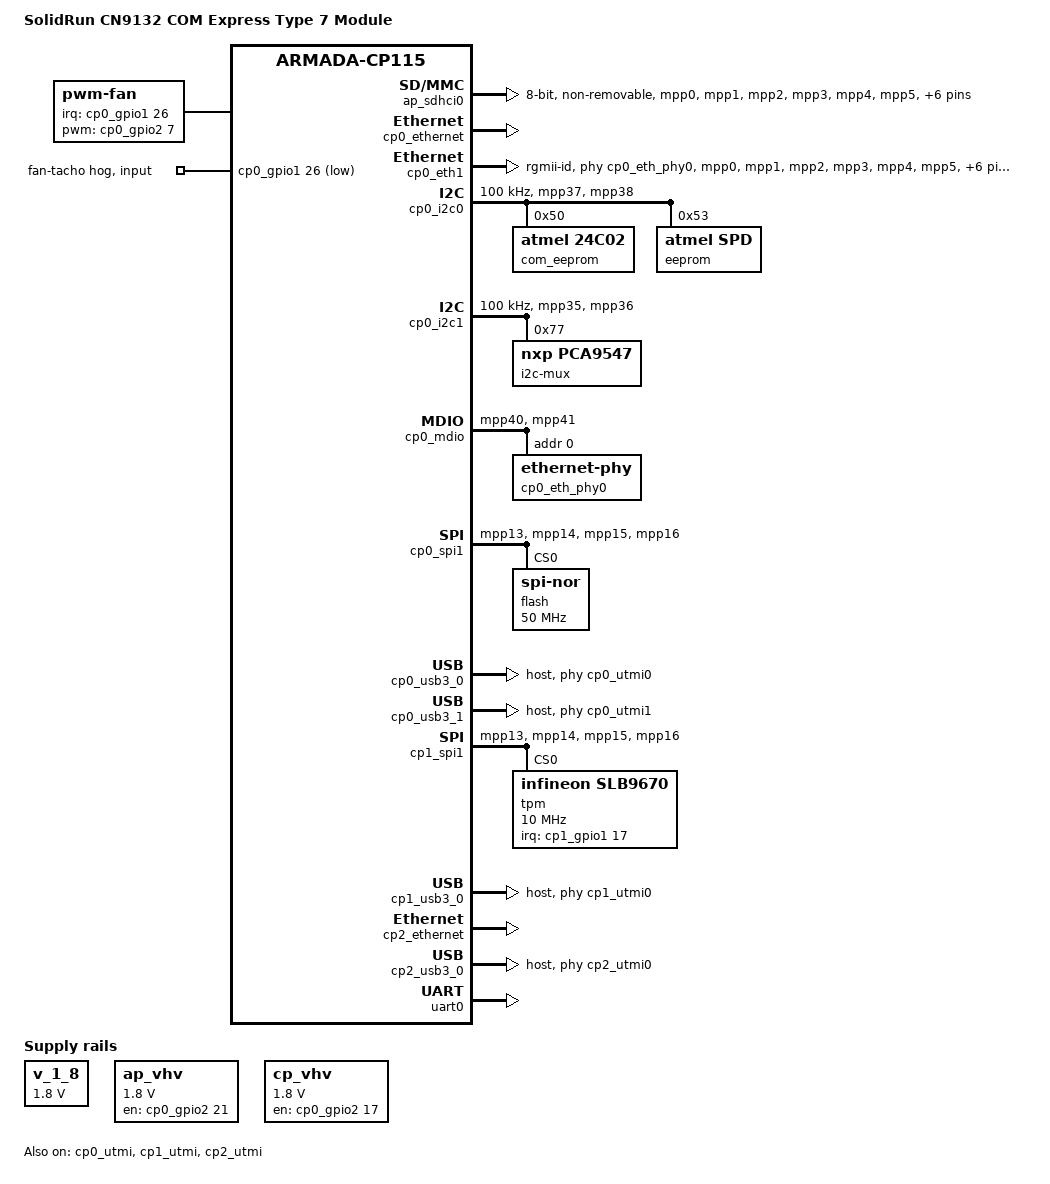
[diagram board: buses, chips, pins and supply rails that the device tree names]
// SPDX-License-Identifier: (GPL-2.0+ OR MIT)
/*
 * Copyright (C) 2024 Josua Mayer <josua@solid-run.com>
 *
 */

#include <dt-bindings/gpio/gpio.h>

/*
 * Instantiate the first external CP115
 */

#define CP11X_NAME		cp1
#define CP11X_BASE		f4000000
#define CP11X_PCIEx_MEM_BASE(iface) (0xe2000000 + (iface * 0x1000000))
#define CP11X_PCIEx_MEM_SIZE(iface) 0xf00000
#define CP11X_PCIE0_BASE	f4600000
#define CP11X_PCIE1_BASE	f4620000
#define CP11X_PCIE2_BASE	f4640000

#include "armada-cp115.dtsi"

#undef CP11X_NAME
#undef CP11X_BASE
#undef CP11X_PCIEx_MEM_BASE
#undef CP11X_PCIEx_MEM_SIZE
#undef CP11X_PCIE0_BASE
#undef CP11X_PCIE1_BASE
#undef CP11X_PCIE2_BASE

/*
 * Instantiate the second external CP115
 */

#define CP11X_NAME		cp2
#define CP11X_BASE		f6000000
#define CP11X_PCIEx_MEM_BASE(iface) (0xe5000000 + (iface * 0x1000000))
#define CP11X_PCIEx_MEM_SIZE(iface) 0xf00000
#define CP11X_PCIE0_BASE	f6600000
#define CP11X_PCIE1_BASE	f6620000
#define CP11X_PCIE2_BASE	f6640000

#include "armada-cp115.dtsi"

#undef CP11X_NAME
#undef CP11X_BASE
#undef CP11X_PCIEx_MEM_BASE
#undef CP11X_PCIEx_MEM_SIZE
#undef CP11X_PCIE0_BASE
#undef CP11X_PCIE1_BASE
#undef CP11X_PCIE2_BASE

/ {
	model = "SolidRun CN9132 COM Express Type 7 Module";
	compatible = "solidrun,cn9132-sr-cex7", "marvell,cn9130";

	aliases {
		ethernet0 = &cp0_eth1;
		gpio3 = &cp1_gpio1;
		gpio4 = &cp1_gpio2;
		gpio5 = &cp2_gpio1;
		gpio6 = &cp2_gpio2;
		i2c0 = &cp0_i2c0;
		i2c1 = &cp0_i2c1;
		i2c2 = &com_clkgen_i2c;
		i2c3 = &com_10g_led_i2c;
		i2c4 = &com_10g_sfp_i2c0;
		i2c5 = &com_smbus;
		i2c6 = &com_fanctrl_i2c;
		mmc0 = &ap_sdhci0;
		rtc0 = &cp0_rtc;
	};

	chosen {
		stdout-path = "serial0:115200n8";
	};

	fan: pwm-fan {
		compatible = "pwm-fan";
		cooling-levels = <0 51 102 153 204 255>;
		#cooling-cells = <2>;
		pinctrl-names = "default";
		pinctrl-0 = <&cp0_fan_pwm_pins &cp0_fan_tacho_pins>;
		pwms = <&cp0_gpio2 7 40000>;
		interrupt-parent = <&cp0_gpio1>;
		interrupts = <26 IRQ_TYPE_EDGE_FALLING>;
	};

	v_1_8: regulator-1-8 {
		compatible = "regulator-fixed";
		regulator-name = "1v8";
		regulator-min-microvolt = <1800000>;
		regulator-max-microvolt = <1800000>;
	};

	ap_vhv: regulator-ap-vhv-1-8 {
		compatible = "regulator-fixed";
		regulator-name = "ap-vhv-1v8";
		regulator-min-microvolt = <1800000>;
		regulator-max-microvolt = <1800000>;
		pinctrl-0 = <&cp0_reg_ap_vhv_pins>;
		pinctrl-names = "default";
		gpios = <&cp0_gpio2 21 GPIO_ACTIVE_HIGH>;
		enable-active-high;
	};

	cp_vhv: regulator-cp-vhv-1-8 {
		compatible = "regulator-fixed";
		regulator-name = "cp-vhv-1v8";
		regulator-min-microvolt = <1800000>;
		regulator-max-microvolt = <1800000>;
		pinctrl-0 = <&cp0_reg_cp_vhv_pins>;
		pinctrl-names = "default";
		gpios = <&cp0_gpio2 17 GPIO_ACTIVE_HIGH>;
		enable-active-high;
	};
};

&ap_pinctrl {
	ap_mmc0_pins: ap-mmc0-pins {
		marvell,pins = "mpp0", "mpp1", "mpp2", "mpp3", "mpp4", "mpp5",
					   "mpp6", "mpp7", "mpp8", "mpp9", "mpp10", "mpp12";
		marvell,function = "sdio";
		/*
		 * mpp12 is emmc reset, function should be sdio (hw_rst),
		 * but pinctrl-mvebu does not support this.
		 *
		 * From pinctrl-mvebu.h:
		 * "The name will be used to switch to this setting in DT description, e.g.
		 * marvell,function = "uart2". subname is only for debugging purposes."
		 */
	};
};

&ap_sdhci0 {
	bus-width = <8>;
	pinctrl-0 = <&ap_mmc0_pins>;
	pinctrl-names = "default";
	vqmmc-supply = <&v_1_8>;
	/*
	 * Not stable in HS modes - phy needs "more calibration", so disable
	 * UHS (by preventing voltage switch), SDR104, SDR50 and DDR50 modes.
	 */
	no-1-8-v;
	no-sd;
	no-sdio;
	non-removable;
	status = "okay";
};

&ap_thermal_ic {
	polling-delay = <1000>;

	trips {
		ap_active: trip-active {
			temperature = <40000>;
			hysteresis = <4000>;
			type = "active";
		};
	};

	cooling-maps {
		map0 {
			trip = <&ap_active>;
			cooling-device = <&fan THERMAL_NO_LIMIT 4>;
		};

		map1 {
			trip = <&ap_crit>;
			cooling-device = <&fan 4 5>;
		};
	};
};

&cp0_ethernet {
	status = "okay";
};

&cp0_eth1 {
	pinctrl-names = "default";
	pinctrl-0 = <&cp0_eth1_pins>;
	phy-mode = "rgmii-id";
	phy = <&cp0_eth_phy0>;
	status = "okay";
};

&cp0_gpio1 {
	status = "okay";

	/*
	 * Tacho signal used as interrupt source by pwm-fan driver.
	 * Hog IO as input to ensure mvebu-gpio irq driver`s
	 * irq_set_type can succeed.
	 */
	pwm-tacho-irq-hog {
		gpio-hog;
		gpios = <26 (GPIO_ACTIVE_LOW | GPIO_OPEN_DRAIN)>;
		input;
		line-name = "fan-tacho";
	};
};

&cp0_gpio2 {
	status = "okay";
};

&cp0_i2c0 {
	pinctrl-names = "default";
	pinctrl-0 = <&cp0_i2c0_pins>;
	clock-frequency = <100000>;
	status = "okay";

	com_eeprom: eeprom@50 {
		compatible = "atmel,24c02";
		reg = <0x50>;
		pagesize = <8>;
	};

	eeprom@53 {
		compatible = "atmel,spd";
		reg = <0x53>;
	};
};

&cp0_i2c1 {
	pinctrl-names = "default";
	pinctrl-0 = <&cp0_i2c1_pins>;
	clock-frequency = <100000>;
	status = "okay";

	i2c-mux@77 {
		compatible = "nxp,pca9547";
		reg = <0x77>;
		i2c-mux-idle-disconnect;
		#address-cells = <1>;
		#size-cells = <0>;

		com_clkgen_i2c: i2c@0 {
			#address-cells = <1>;
			#size-cells = <0>;
			reg = <0>;

			/* clock-controller@6b */
		};

		com_10g_led_i2c: i2c@1 {
			#address-cells = <1>;
			#size-cells = <0>;
			reg = <1>;

			/* Routed to B2B Connector as I2C_10G_LED_SCL/SDA */
		};

		com_10g_sfp_i2c0: i2c@2 {
			#address-cells = <1>;
			#size-cells = <0>;
			reg = <2>;

			/* Routed to B2B Connector as I2C_SFP0_CP0_SCL/SDA */
		};

		com_smbus: i2c@3 {
			#address-cells = <1>;
			#size-cells = <0>;
			reg = <3>;

			/* Routed to B2B Connector as SBM_CLK/DAT */
		};

		com_fanctrl_i2c: i2c@4 {
			#address-cells = <1>;
			#size-cells = <0>;
			reg = <4>;

			/* fan-controller@2f (assembly option) */
		};
	};
};

&cp0_mdio {
	pinctrl-names = "default";
	pinctrl-0 = <&cp0_mdio_pins>;
	status = "okay";

	cp0_eth_phy0: ethernet-phy@0 {
		reg = <0>;
	};
};

&cp0_spi1 {
	pinctrl-names = "default";
	pinctrl-0 = <&cp0_spi1_pins>;
	status = "okay";

	flash@0 {
		compatible = "jedec,spi-nor";
		reg = <0>;
		/* read command supports max. 50MHz */
		spi-max-frequency = <50000000>;
	};
};

&cp0_syscon0 {
	cp0_pinctrl: pinctrl {
		compatible = "marvell,cp115-standalone-pinctrl";

		com_10g_int0_pins: cp0-10g-int-pins {
			marvell,pins = "mpp24";
			marvell,function = "gpio";
		};

		cp0_eth1_pins: cp0-eth1-pins {
			marvell,pins = "mpp0", "mpp1", "mpp2", "mpp3",
				       "mpp4", "mpp5", "mpp6", "mpp7",
				       "mpp8", "mpp9", "mpp10", "mpp11";
			/* docs call it "ge1", but cp110-pinctrl "ge0" */
			marvell,function = "ge0";
		};

		cp0_fan_pwm_pins: cp0-fan-pwm-pins {
			marvell,pins = "mpp39";
			marvell,function = "gpio";
		};

		cp0_fan_tacho_pins: cp0-fan-tacho-pins {
			marvell,pins = "mpp26";
			marvell,function = "gpio";
		};

		cp0_i2c0_pins: cp0-i2c0-pins {
			marvell,pins = "mpp37", "mpp38";
			marvell,function = "i2c0";
		};

		cp0_i2c1_pins: cp0-i2c1-pins {
			marvell,pins = "mpp35", "mpp36";
			marvell,function = "i2c1";
		};

		cp0_mdio_pins: cp0-mdio-pins {
			marvell,pins = "mpp40", "mpp41";
			marvell,function = "ge";
		};

		cp0_mmc0_pins: cp0-mmc0-pins {
			marvell,pins = "mpp56", "mpp57", "mpp58", "mpp59",
				       "mpp60", "mpp61";
			marvell,function = "sdio";
		};

		cp0_mmc0_cd_pins: cp0-mmc0-cd-pins {
			marvell,pins = "mpp55";
			marvell,function = "sdio_cd";
		};

		cp0_pwrbtn_pins:  cp0-pwrbtn-pins {
			marvell,pins = "mpp31";
			marvell,function = "gpio";
		};

		cp0_reg_ap_vhv_pins: cp0-reg-ap-vhv-pins {
			marvell,pins = "mpp53";
			marvell,function = "gpio";
		};

		cp0_reg_cp_vhv_pins: cp0-reg-cp-vhv-pins {
			marvell,pins = "mpp49";
			marvell,function = "gpio";
		};

		cp0_spi1_pins: cp0-spi1-pins {
			marvell,pins = "mpp13", "mpp14", "mpp15", "mpp16";
			marvell,function = "spi1";
		};

		cp0_spi1_cs1_pins: cp0-spi1-cs1-pins {
			marvell,pins = "mpp12";
			marvell,function = "spi1";
		};

		cp0_uart2_pins: cp0-uart2-pins  {
			marvell,pins = "mpp50", "mpp51";
			marvell,function = "uart2";
		};
	};
};

&cp0_thermal_ic {
	polling-delay = <1000>;

	trips {
		cp0_active: trip-active {
			temperature = <40000>;
			hysteresis = <4000>;
			type = "active";
		};
	};

	cooling-maps {
		map0 {
			trip = <&cp0_active>;
			cooling-device = <&fan THERMAL_NO_LIMIT 4>;
		};

		map1 {
			trip = <&cp0_crit>;
			cooling-device = <&fan 4 5>;
		};
	};
};

/* USB-2.0 Host */
&cp0_usb3_0 {
	phys = <&cp0_utmi0>;
	phy-names = "utmi";
	dr_mode = "host";
	status = "okay";
};

/* USB-2.0 Host */
&cp0_usb3_1 {
	phys = <&cp0_utmi1>;
	phy-names = "utmi";
	dr_mode = "host";
	status = "okay";
};

&cp0_utmi {
	status = "okay";
};

&cp1_gpio1 {
	status = "okay";
};

&cp1_gpio2 {
	status = "okay";
};

&cp1_rtc {
	status = "disabled";
};

&cp1_spi1 {
	pinctrl-names = "default";
	pinctrl-0 = <&cp1_spi1_pins>;
	status = "okay";

	tpm@0 {
		reg = <0>;
		compatible = "infineon,slb9670", "tcg,tpm_tis-spi";
		spi-max-frequency = <10000000>;
		pinctrl-names = "default";
		pinctrl-0 = <&cp1_tpm_irq_pins>;
		interrupt-parent = <&cp1_gpio1>;
		interrupts = <17 IRQ_TYPE_LEVEL_LOW>;
	};
};

&cp1_syscon0 {
	cp1_pinctrl: pinctrl {
		compatible = "marvell,cp115-standalone-pinctrl";

		com_10g_int1_pins: cp1-10g-int-pins {
			marvell,pins = "mpp50";
			marvell,function = "gpio";
		};

		cp1_10g_phy_rst_01_pins: cp1-10g-phy-rst-01-pins {
			marvell,pins = "mpp43";
			marvell,function = "gpio";
		};

		cp1_10g_phy_rst_23_pins: cp1-10g-phy-rst-23-pins {
			marvell,pins = "mpp42";
			marvell,function = "gpio";
		};

		cp1_batlow_pins: cp1-batlow-pins {
			marvell,pins = "mpp11";
			marvell,function = "gpio";
		};

		cp1_rsvd16_pins: cp1-rsvd16-pins {
			marvell,pins = "mpp29";
			marvell,function = "gpio";
		};

		cp1_sata_act_pins: cp1-sata-act-pins {
			marvell,pins = "mpp39";
			marvell,function = "gpio";
		};

		cp1_spi1_pins: cp1-spi1-pins {
			marvell,pins = "mpp13", "mpp14", "mpp15", "mpp16";
			marvell,function = "spi1";
		};

		cp1_thrm_irq_pins: cp1-thrm-irq-pins {
			marvell,pins = "mpp34";
			marvell,function = "gpio";
		};

		cp1_thrm_trip_pins: cp1-thrm-trip-pins {
			marvell,pins = "mpp33";
			marvell,function = "gpio";
		};

		cp1_tpm_irq_pins: cp1-tpm-irq-pins {
			marvell,pins = "mpp17";
			marvell,function = "gpio";
		};

		cp1_wake0_pins: cp1-wake0-pins {
			marvell,pins = "mpp40";
			marvell,function = "gpio";
		};

		cp1_wake1_pins: cp1-wake1-pins {
			marvell,pins = "mpp51";
			marvell,function = "gpio";
		};

		cp1_xmdio_pins: cp1-xmdio-pins {
			marvell,pins = "mpp37", "mpp38";
			marvell,function = "xg";
		};
	};
};

&cp1_thermal_ic {
	polling-delay = <1000>;

	trips {
		cp1_active: trip-active {
			temperature = <40000>;
			hysteresis = <4000>;
			type = "active";
		};
	};

	cooling-maps {
		map0 {
			trip = <&cp1_active>;
			cooling-device = <&fan THERMAL_NO_LIMIT 4>;
		};

		map1 {
			trip = <&cp1_crit>;
			cooling-device = <&fan 4 5>;
		};
	};
};

/* USB-2.0 Host */
&cp1_usb3_0 {
	phys = <&cp1_utmi0>;
	phy-names = "utmi";
	dr_mode = "host";
	status = "okay";
};

&cp1_utmi {
	status = "okay";
};

&cp2_ethernet {
	status = "okay";
};

&cp2_gpio1 {
	status = "okay";
};

&cp2_gpio2 {
	status = "okay";
};

&cp2_rtc {
	status = "disabled";
};

&cp2_syscon0 {
	cp2_pinctrl: pinctrl {
		compatible = "marvell,cp115-standalone-pinctrl";

		com_10g_int2_pins: cp2-10g-int-pins {
			marvell,pins = "mpp50";
			marvell,function = "gpio";
		};

		cp2_rsvd0_pins: cp2-rsvd0-pins {
			marvell,pins = "mpp0";
			marvell,function = "gpio";
		};

		cp2_rsvd1_pins: cp2-rsvd1-pins {
			marvell,pins = "mpp1";
			marvell,function = "gpio";
		};

		cp2_rsvd2_pins: cp2-rsvd2-pins {
			marvell,pins = "mpp2";
			marvell,function = "gpio";
		};

		cp2_rsvd3_pins: cp2-rsvd3-pins {
			marvell,pins = "mpp3";
			marvell,function = "gpio";
		};

		cp2_rsvd4_pins: cp2-rsvd4-pins {
			marvell,pins = "mpp4";
			marvell,function = "gpio";
		};

		cp2_rsvd5_pins: cp2-rsvd5-pins {
			marvell,pins = "mpp54";
			marvell,function = "gpio";
		};

		cp2_rsvd7_pins: cp2-rsvd7-pins {
			marvell,pins = "mpp7";
			marvell,function = "gpio";
		};

		cp2_rsvd8_pins: cp2-rsvd8-pins {
			marvell,pins = "mpp8";
			marvell,function = "gpio";
		};

		cp2_rsvd9_pins: cp2-rsvd9-pins {
			marvell,pins = "mpp9";
			marvell,function = "gpio";
		};

		cp2_rsvd10_pins: cp2-rsvd10-pins {
			marvell,pins = "mpp10";
			marvell,function = "gpio";
		};

		cp2_rsvd11_pins: cp2-rsvd11-pins {
			marvell,pins = "mpp11";
			marvell,function = "gpio";
		};

		cp2_rsvd27_pins: cp2-rsvd27-pins {
			marvell,pins = "mpp11";
			marvell,function = "gpio";
		};

		cp2_rsvd31_pins: cp2-rsvd31-pins {
			marvell,pins = "mpp31";
			marvell,function = "gpio";
		};

		cp2_rsvd32_pins: cp2-rsvd32-pins {
			marvell,pins = "mpp32";
			marvell,function = "gpio";
		};

		cp2_rsvd55_pins: cp2-rsvd55-pins {
			marvell,pins = "mpp55";
			marvell,function = "gpio";
		};

		cp2_rsvd56_pins: cp2-rsvd56-pins {
			marvell,pins = "mpp56";
			marvell,function = "gpio";
		};

		cp2_xmdio_pins: cp2-xmdio-pins {
			marvell,pins = "mpp37", "mpp38";
			marvell,function = "xg";
		};
	};
};

&cp2_thermal_ic {
	polling-delay = <1000>;

	trips {
		cp2_active: trip-active {
			temperature = <40000>;
			hysteresis = <4000>;
			type = "active";
		};
	};

	cooling-maps {
		map0 {
			trip = <&cp2_active>;
			cooling-device = <&fan THERMAL_NO_LIMIT 4>;
		};

		map1 {
			trip = <&cp2_crit>;
			cooling-device = <&fan 4 5>;
		};
	};
};

/* USB-2.0/3.0 Host */
&cp2_usb3_0 {
	phys = <&cp2_utmi0>, <&cp2_comphy1 0>;
	phy-names = "utmi", "comphy";
	dr_mode = "host";
	status = "okay";
};

&cp2_utmi {
	status = "okay";
};

/* AP default console */
&uart0 {
	pinctrl-0 = <&uart0_pins>;
	pinctrl-names = "default";
	status = "okay";
};
